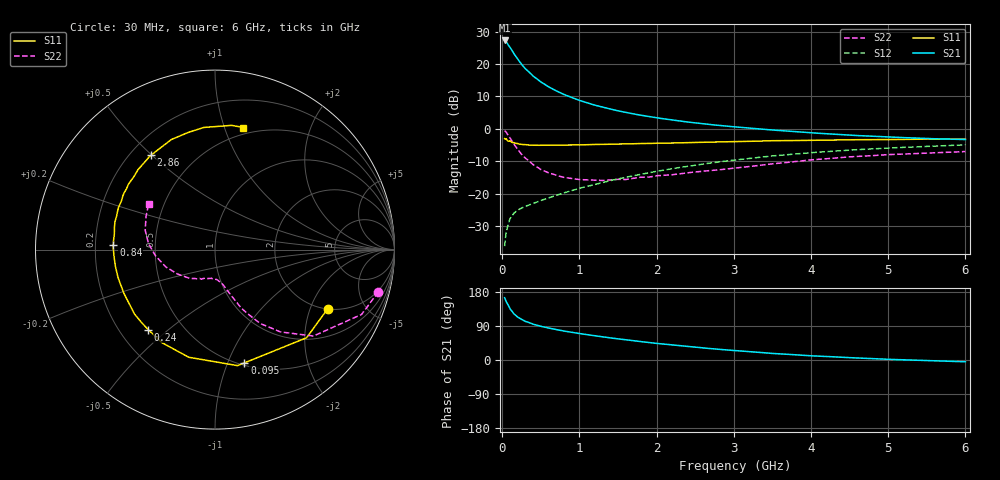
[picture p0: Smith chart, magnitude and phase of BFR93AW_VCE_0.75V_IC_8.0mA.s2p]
! (c) 2015  Infineon Technologies AG, Munich
! Infineon Technologies  Discrete & RF Semiconductors
! BFR93AW
! VCE = 0.75 V,  IC =  8.0 mA
! Common Emitter S-Parameters:  Nov 2015
# GHz  S  MA  R  50
!  f  S11  S21  S12  S22
! GHz  MAG  ANG  MAG  ANG  MAG  ANG  MAG  ANG
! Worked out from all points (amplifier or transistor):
!   206 points, 30 MHz to 6 GHz, reference 50 ohm
!   highest |S21| = 27.3 dB at 30 MHz (marker M1)
!   |S21| within 3 dB of that: start of sweep to 123.7 MHz
!   unconditionally stable (mu >= 1): 751 MHz to 2.76 GHz
!   at 200 MHz: K = 0.44, MSG = 23.2 dB, |S12| = -25.0 dB
!   at 1.56 GHz: K = 1.10, MAG = 8.2 dB, |S12| = -15.1 dB
!   at 6 GHz: K = 0.99, MSG = 0.8 dB, |S12| = -4.9 dB
!   S11 on the Smith chart (normalised r, x): 30 MHz: 2.01, -2.67; 95 MHz: 0.52, -1.15; 240 MHz: 0.32, -0.43; 840 MHz: 0.28, +0.02; 2.86 GHz: 0.28, +0.50; 6 GHz: 0.44, +1.16
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0.03  0.7089 -27.7  23.04 164.4  0.0157 76.2  0.9404 -14.5
0.05  0.7084 -43.9  22.09 154.0  0.0253 70.2  0.8926 -23.9
0.095  0.652 -75.4  18.45 137.0  0.04 57.4  0.7425 -39.3
0.1  0.6586 -79.0  18.17 134.7  0.0417 56.5  0.7298 -41.3
0.15  0.6174 -103.7  14.46 121.8  0.0505 49.1  0.5847 -51.6
0.2  0.5968 -119.7  11.82 113.0  0.0563 46.3  0.483 -58.5
0.24  0.5806 -129.8  10.24 108.1  0.0598 45.3  0.4211 -61.8
0.26  0.5774 -134.2  9.576 105.8  0.0614 45.1  0.3956 -63.4
0.3  0.5745 -141.3  8.446 101.8  0.0644 44.9  0.355 -65.9
0.4  0.5631 -154.3  6.503 94.4  0.0717 46.3  0.2822 -69.8
0.5  0.5623 -163.6  5.292 88.7  0.0792 48.8  0.2378 -73.1
0.6  0.5627 -170.2  4.451 84.2  0.0868 50.7  0.2114 -75.5
0.7  0.5637 -175.9  3.857 80.1  0.0953 52.5  0.1937 -78.3
0.84  0.567 177.4  3.249 75.2  0.1074 54.5  0.1767 -82.9
1.04  0.5698 169.7  2.658 68.6  0.1256 56.7  0.1656 -89.1
1.48  0.5863 156.6  1.925 56.3  0.1681 58.3  0.1673 -104.3
2.02  0.6045 142.4  1.473 43.4  0.2253 57.0  0.1911 -121.2
2.86  0.6344 124.1  1.12 27.3  0.3167 50.9  0.2388 -143.7
3.1  0.6413 119.2  1.056 23.6  0.3416 48.5  0.2561 -150.0
4.1  0.6716 101.3  0.858 10.2  0.4397 37.5  0.341 -176.7
5.1  0.6885 87.3  0.745 1.2  0.5148 26.1  0.4066 162.6
6  0.6983 76.9  0.688 -4.7  0.5701 16.6  0.4494 145.3
